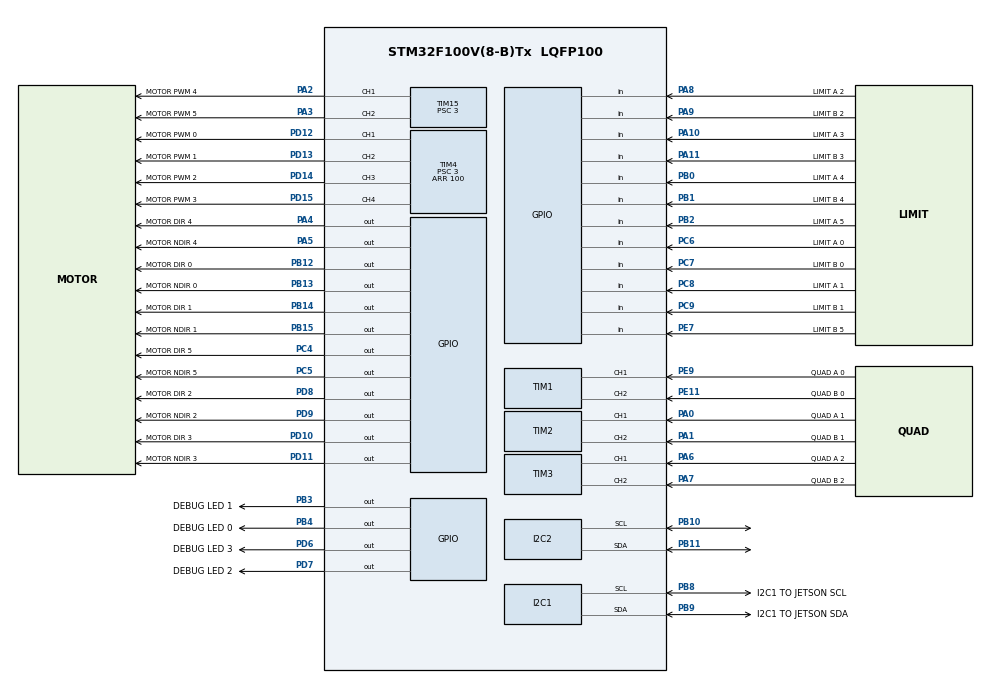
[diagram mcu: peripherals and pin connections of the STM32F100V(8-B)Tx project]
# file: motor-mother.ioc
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I2C1.DualAddressMode=I2C_DUALADDRESS_DISABLE
I2C1.I2C_Mode=I2C_Fast
I2C1.NoStretchMode=I2C_NOSTRETCH_DISABLE
I2C1.OwnAddress=I2C_ADDRESS
Mcu.Family=STM32F1
Mcu.Name=STM32F100V(8-B)Tx
Mcu.Package=LQFP100
Mcu.UserConstants=I2C_ADDRESS,0x02;COUNTER_LOOP_PERIOD,1000;QUADRATURE_FILTER,8
NVIC.I2C1_ER_IRQn=true\:0\:0\:false\:false\:true\:true\:true\:true
NVIC.I2C1_EV_IRQn=true\:0\:0\:true\:false\:true\:true\:true\:true
NVIC.I2C2_ER_IRQn=true\:0\:0\:false\:false\:true\:true\:true\:true
NVIC.I2C2_EV_IRQn=true\:0\:0\:false\:false\:true\:true\:true\:true
NVIC.PriorityGroup=NVIC_PRIORITYGROUP_4
NVIC.TIM1_UP_TIM16_IRQn=true\:1\:0\:true\:false\:true\:true\:true\:true
PA0-WKUP.GPIO_Label=QUAD A 1
PA0-WKUP.Signal=S_TIM2_CH1_ETR
PA1.GPIO_Label=QUAD B 1
PA1.Signal=S_TIM2_CH2
PA10.GPIO_Label=LIMIT A 3
PA10.GPIO_PuPd=GPIO_PULLUP
PA10.Signal=GPIO_Input
PA11.GPIO_Label=LIMIT B 3
PA11.GPIO_PuPd=GPIO_PULLUP
PA11.Signal=GPIO_Input
PA13.Mode=Serial_Wire
PA13.Signal=SYS_JTMS-SWDIO
PA14.Mode=Serial_Wire
PA14.Signal=SYS_JTCK-SWCLK
PA2.GPIO_Label=MOTOR PWM 4
PA2.Signal=S_TIM15_CH1
PA3.GPIO_Label=MOTOR PWM 5
PA3.Signal=S_TIM15_CH2
PA4.GPIO_Label=MOTOR DIR 4
PA4.Signal=GPIO_Output
PA5.GPIO_Label=MOTOR NDIR 4
PA5.Signal=GPIO_Output
PA6.GPIO_Label=QUAD A 2
PA6.Signal=S_TIM3_CH1
PA7.GPIO_Label=QUAD B 2
PA7.Signal=S_TIM3_CH2
PA8.GPIO_Label=LIMIT A 2
PA8.GPIO_PuPd=GPIO_PULLUP
PA8.Signal=GPIO_Input
PA9.GPIO_Label=LIMIT B 2
PA9.GPIO_PuPd=GPIO_PULLUP
PA9.Signal=GPIO_Input
PB0.GPIO_Label=LIMIT A 4
PB0.GPIO_PuPd=GPIO_PULLUP
PB0.Signal=GPIO_Input
PB1.GPIO_Label=LIMIT B 4
PB1.GPIO_PuPd=GPIO_PULLUP
PB1.Signal=GPIO_Input
PB10.Mode=I2C
PB10.Signal=I2C2_SCL
PB11.Mode=I2C
PB11.Signal=I2C2_SDA
PB12.GPIO_Label=MOTOR DIR 0
PB12.Signal=GPIO_Output
PB13.GPIO_Label=MOTOR NDIR 0
PB13.Signal=GPIO_Output
PB14.GPIO_Label=MOTOR DIR 1
PB14.Signal=GPIO_Output
PB15.GPIO_Label=MOTOR NDIR 1
PB15.Signal=GPIO_Output
PB2.GPIO_Label=LIMIT A 5
PB2.Signal=GPIO_Input
PB3.GPIO_Label=DEBUG LED 1
PB3.Signal=GPIO_Output
PB4.GPIO_Label=DEBUG LED 0
PB4.Signal=GPIO_Output
PB8.GPIO_Label=I2C1 TO JETSON SCL
PB8.Mode=I2C
PB8.Signal=I2C1_SCL
PB9.GPIO_Label=I2C1 TO JETSON SDA
PB9.Mode=I2C
PB9.Signal=I2C1_SDA
PC4.GPIO_Label=MOTOR DIR 5
PC4.Signal=GPIO_Output
PC5.GPIO_Label=MOTOR NDIR 5
PC5.Signal=GPIO_Output
PC6.GPIO_Label=LIMIT A 0
PC6.GPIO_PuPd=GPIO_PULLUP
PC6.Signal=GPIO_Input
PC7.GPIO_Label=LIMIT B 0
PC7.GPIO_PuPd=GPIO_PULLUP
PC7.Signal=GPIO_Input
PC8.GPIO_Label=LIMIT A 1
PC8.GPIO_PuPd=GPIO_PULLUP
PC8.Signal=GPIO_Input
PC9.GPIO_Label=LIMIT B 1
PC9.GPIO_PuPd=GPIO_PULLUP
PC9.Signal=GPIO_Input
PD10.GPIO_Label=MOTOR DIR 3
PD10.Signal=GPIO_Output
PD11.GPIO_Label=MOTOR NDIR 3
PD11.Signal=GPIO_Output
PD12.GPIO_Label=MOTOR PWM 0
PD12.Signal=S_TIM4_CH1
PD13.GPIO_Label=MOTOR PWM 1
PD13.Signal=S_TIM4_CH2
PD14.GPIO_Label=MOTOR PWM 2
PD14.Signal=S_TIM4_CH3
PD15.GPIO_Label=MOTOR PWM 3
PD15.Signal=S_TIM4_CH4
PD6.GPIO_Label=DEBUG LED 3
PD6.Signal=GPIO_Output
PD7.GPIO_Label=DEBUG LED 2
PD7.Signal=GPIO_Output
PD8.GPIO_Label=MOTOR DIR 2
PD8.Signal=GPIO_Output
PD9.GPIO_Label=MOTOR NDIR 2
PD9.Signal=GPIO_Output
PE11.GPIO_Label=QUAD B 0
PE11.Signal=S_TIM1_CH2
PE7.GPIO_Label=LIMIT B 5
PE7.GPIO_PuPd=GPIO_PULLUP
PE7.Signal=GPIO_Input
PE9.GPIO_Label=QUAD A 0
PE9.Signal=S_TIM1_CH1
ProjectManager.HeapSize=0x200
ProjectManager.StackSize=0x400
ProjectManager.TargetToolchain=STM32CubeIDE
RCC.APB1Freq_Value=8000000
RCC.APB2Freq_Value=8000000
SH.S_TIM15_CH1.0=TIM15_CH1,PWM Generation1 CH1
SH.S_TIM15_CH2.0=TIM15_CH2,PWM Generation2 CH2
SH.S_TIM1_CH1.0=TIM1_CH1,Encoder_Interface
SH.S_TIM1_CH2.0=TIM1_CH2,Encoder_Interface
SH.S_TIM2_CH1_ETR.0=TIM2_CH1,Encoder_Interface
SH.S_TIM2_CH2.0=TIM2_CH2,Encoder_Interface
SH.S_TIM3_CH1.0=TIM3_CH1,Encoder_Interface
SH.S_TIM3_CH2.0=TIM3_CH2,Encoder_Interface
SH.S_TIM4_CH1.0=TIM4_CH1,PWM Generation1 CH1
SH.S_TIM4_CH2.0=TIM4_CH2,PWM Generation2 CH2
SH.S_TIM4_CH3.0=TIM4_CH3,PWM Generation3 CH3
SH.S_TIM4_CH4.0=TIM4_CH4,PWM Generation4 CH4
TIM1.IC1Filter=QUADRATURE_FILTER
TIM1.IC2Filter=QUADRATURE_FILTER
TIM15.Channel-PWM\ Generation1\ CH1=TIM_CHANNEL_1
TIM15.Channel-PWM\ Generation2\ CH2=TIM_CHANNEL_2
TIM15.Period=100
TIM15.Prescaler=3
TIM16.Period=COUNTER_LOOP_PERIOD
TIM16.Prescaler=7
TIM2.IC1Filter=QUADRATURE_FILTER
TIM2.IC2Filter=QUADRATURE_FILTER
TIM3.IC1Filter=QUADRATURE_FILTER
TIM3.IC2Filter=QUADRATURE_FILTER
TIM4.Channel-PWM\ Generation1\ CH1=TIM_CHANNEL_1
TIM4.Channel-PWM\ Generation2\ CH2=TIM_CHANNEL_2
TIM4.Channel-PWM\ Generation3\ CH3=TIM_CHANNEL_3
TIM4.Channel-PWM\ Generation4\ CH4=TIM_CHANNEL_4
TIM4.Period=100
TIM4.Prescaler=3
VP_TIM16_VS_ClockSourceINT.Mode=Enable_Timer
board=custom

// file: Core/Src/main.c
/* USER CODE BEGIN Header */
/**
 ******************************************************************************
 * @file           : main.c
 * @brief          : Main program body
 ******************************************************************************
 * @attention
 *
 * Copyright (c) 2022 STMicroelectronics.
 * All rights reserved.
 *
 * This software is licensed under terms that can be found in the LICENSE file
 * in the root directory of this software component.
 * If no LICENSE file comes with this software, it is provided AS-IS.
 *
 ******************************************************************************
 */
/* USER CODE END Header */
#include "main.h"

/* USER CODE BEGIN Includes */
#include "motor.h"
#include "i2c_bridge.h"
/* USER CODE END Includes */

/* USER CODE BEGIN PD */

#define NUM_MOTORS 6

/* USER CODE END PD */

I2C_HandleTypeDef hi2c1;
I2C_HandleTypeDef hi2c2;

TIM_HandleTypeDef htim1;
TIM_HandleTypeDef htim2;
TIM_HandleTypeDef htim3;
TIM_HandleTypeDef htim4;
TIM_HandleTypeDef htim15;
TIM_HandleTypeDef htim16;

/* USER CODE BEGIN PV */

Pin *hbridge_forward_pins[NUM_MOTORS] = { NULL };
Pin *hbridge_backward_pins[NUM_MOTORS] = { NULL };
HBridge *hbridges[NUM_MOTORS] = { NULL };

Pin *forward_limit_switch_pins[NUM_MOTORS] = { NULL };
Pin *backward_limit_switch_pins[NUM_MOTORS] = { NULL };

LimitSwitch *forward_limit_switches[NUM_MOTORS] = { NULL };
LimitSwitch *backward_limit_switches[NUM_MOTORS] = { NULL };

QuadEncoder *quad_encoders[NUM_MOTORS] = { NULL };

AbsEncoder *abs_encoders[NUM_MOTORS] = { NULL };

ClosedLoopControl *controls[NUM_MOTORS] = { NULL };

Motor *motors[NUM_MOTORS] = { NULL };
I2CBus *i2c_bus = NULL;

I2CBus *absolute_enc_i2c_bus = NULL;

/* USER CODE END PV */

void SystemClock_Config(void);
static void MX_GPIO_Init(void);
static void MX_I2C1_Init(void);
static void MX_TIM1_Init(void);
static void MX_TIM2_Init(void);
static void MX_TIM3_Init(void);
static void MX_TIM4_Init(void);
static void MX_TIM15_Init(void);
static void MX_TIM16_Init(void);
static void MX_I2C2_Init(void);

/* USER CODE BEGIN 0 */

void HAL_TIM_PeriodElapsedCallback(TIM_HandleTypeDef *htim) {
	if (htim == &htim16) {

		CH_tick(i2c_bus, motors, NUM_MOTORS);

		for (size_t i = 0; i < NUM_MOTORS; ++i) {
			if (quad_encoders[i]->valid) {
				update_quad_encoder(quad_encoders[i]);
			}
			if (forward_limit_switches[i]->valid) {
				update_limit_switch(forward_limit_switches[i]);
			}
			if (backward_limit_switches[i]->valid) {
				update_limit_switch(backward_limit_switches[i]);
			}
			if (motors[i]->valid) {
				update_motor_target(motors[i]);
				update_motor_speed(motors[i]);
				update_motor_limit_switches(motors[i]);
			}
		}
	}
}

void HAL_I2C_AddrCallback(I2C_HandleTypeDef *hi2c, uint8_t TransferDirection, uint16_t AddrMatchCode) {
	if (TransferDirection == I2C_DIRECTION_TRANSMIT) {
		HAL_I2C_Slave_Seq_Receive_IT(i2c_bus->i2c_bus_handle, i2c_bus->buffer, 1, I2C_LAST_FRAME);
		i2c_bus->operation = UNKNOWN;
	} else {
		if (i2c_bus->motor_id < NUM_MOTORS) {
			CH_prepare_send(i2c_bus, motors[i2c_bus->motor_id]);
		}
		uint8_t bytes_to_send = CH_num_send(i2c_bus);
		if (bytes_to_send != 0) {
			HAL_I2C_Slave_Seq_Transmit_IT(i2c_bus->i2c_bus_handle, i2c_bus->buffer, bytes_to_send, I2C_LAST_FRAME);
		}
	}

	i2c_bus->tick = 0;
}

void HAL_I2C_SlaveRxCpltCallback(I2C_HandleTypeDef *hi2c) {
	if (i2c_bus->operation == UNKNOWN) {
		i2c_bus->motor_id = (i2c_bus->buffer[0] >> 5) & 0x07;
		i2c_bus->operation = i2c_bus->buffer[0] & 0x1F;
		uint8_t bytes_to_recieve = CH_num_receive(i2c_bus);
		if (bytes_to_recieve != 0) {
			HAL_I2C_Slave_Seq_Receive_IT(i2c_bus->i2c_bus_handle, i2c_bus->buffer, bytes_to_recieve, I2C_LAST_FRAME);
		} else {
			if (i2c_bus->motor_id < NUM_MOTORS) {
				CH_process_received(i2c_bus, motors[i2c_bus->motor_id]);
			}
		}
	} else {
		if (i2c_bus->motor_id < NUM_MOTORS) {
			CH_process_received(i2c_bus, motors[i2c_bus->motor_id]);
		}
	}
}

void HAL_I2C_ErrorCallback(I2C_HandleTypeDef *hi2c) {
	CH_reset(i2c_bus, motors, NUM_MOTORS);
}

void HAL_I2C_ListenCpltCallback(I2C_HandleTypeDef *hi2c) {
	HAL_I2C_EnableListen_IT(i2c_bus->i2c_bus_handle);
}

/* USER CODE END 0 */

int main(void)
{

  /* MCU Configuration--------------------------------------------------------*/

  /* Reset of all peripherals, Initializes the Flash interface and the Systick. */
  HAL_Init();

  /* USER CODE BEGIN Init */

	hbridge_forward_pins[0] = new_pin(MOTOR_DIR_0_GPIO_Port, MOTOR_DIR_0_Pin);
	hbridge_forward_pins[1] = new_pin(MOTOR_DIR_1_GPIO_Port, MOTOR_DIR_1_Pin);
	hbridge_forward_pins[2] = new_pin(MOTOR_DIR_2_GPIO_Port, MOTOR_DIR_2_Pin);
	hbridge_forward_pins[3] = new_pin(MOTOR_DIR_3_GPIO_Port, MOTOR_DIR_3_Pin);
	hbridge_forward_pins[4] = new_pin(MOTOR_DIR_4_GPIO_Port, MOTOR_DIR_4_Pin);
	hbridge_forward_pins[5] = new_pin(MOTOR_DIR_5_GPIO_Port, MOTOR_DIR_5_Pin);

	hbridge_backward_pins[0] = new_pin(MOTOR_NDIR_0_GPIO_Port, MOTOR_NDIR_0_Pin);
	hbridge_backward_pins[1] = new_pin(MOTOR_NDIR_1_GPIO_Port, MOTOR_NDIR_1_Pin);
	hbridge_backward_pins[2] = new_pin(MOTOR_NDIR_2_GPIO_Port, MOTOR_NDIR_2_Pin);
	hbridge_backward_pins[3] = new_pin(MOTOR_NDIR_3_GPIO_Port, MOTOR_NDIR_3_Pin);
	hbridge_backward_pins[4] = new_pin(MOTOR_NDIR_4_GPIO_Port, MOTOR_NDIR_4_Pin);
	hbridge_backward_pins[5] = new_pin(MOTOR_NDIR_5_GPIO_Port, MOTOR_NDIR_5_Pin);

	hbridges[0] = new_hbridge(1, &htim4, TIM_CHANNEL_1, &(TIM4->CCR1), &(TIM4->ARR), hbridge_forward_pins[0], hbridge_backward_pins[0]);
	hbridges[1] = new_hbridge(1, &htim4, TIM_CHANNEL_2, &(TIM4->CCR2), &(TIM4->ARR), hbridge_forward_pins[1], hbridge_backward_pins[1]);
	hbridges[2] = new_hbridge(1, &htim4, TIM_CHANNEL_3, &(TIM4->CCR3), &(TIM4->ARR), hbridge_forward_pins[2], hbridge_backward_pins[2]);
	hbridges[3] = new_hbridge(1, &htim4, TIM_CHANNEL_4, &(TIM4->CCR4), &(TIM4->ARR), hbridge_forward_pins[3], hbridge_backward_pins[3]);
	hbridges[4] = new_hbridge(1, &htim15, TIM_CHANNEL_1, &(TIM15->CCR1), &(TIM15->ARR), hbridge_forward_pins[4], hbridge_backward_pins[4]);
	hbridges[5] = new_hbridge(1, &htim15, TIM_CHANNEL_2, &(TIM15->CCR2), &(TIM15->ARR), hbridge_forward_pins[5], hbridge_backward_pins[5]);

	for (size_t i = 0; i < NUM_MOTORS; ++i) {
		if (hbridges[i]->valid) {
			init_hbridge(hbridges[i], 0.0f, true);
		}
	}

	forward_limit_switch_pins[0] = new_pin(LIMIT_A_0_GPIO_Port, LIMIT_A_0_Pin);
	forward_limit_switch_pins[1] = new_pin(LIMIT_A_1_GPIO_Port, LIMIT_A_1_Pin);
	forward_limit_switch_pins[2] = new_pin(LIMIT_A_2_GPIO_Port, LIMIT_A_2_Pin);
	forward_limit_switch_pins[3] = new_pin(LIMIT_A_3_GPIO_Port, LIMIT_A_3_Pin);
	forward_limit_switch_pins[4] = new_pin(LIMIT_A_4_GPIO_Port, LIMIT_A_4_Pin);
	forward_limit_switch_pins[5] = new_pin(LIMIT_A_5_GPIO_Port, LIMIT_A_5_Pin);

	backward_limit_switch_pins[0] = new_pin(LIMIT_B_0_GPIO_Port, LIMIT_B_0_Pin);
	backward_limit_switch_pins[1] = new_pin(LIMIT_B_1_GPIO_Port, LIMIT_B_1_Pin);
	backward_limit_switch_pins[2] = new_pin(LIMIT_B_2_GPIO_Port, LIMIT_B_2_Pin);
	backward_limit_switch_pins[3] = new_pin(LIMIT_B_3_GPIO_Port, LIMIT_B_3_Pin);
	backward_limit_switch_pins[4] = new_pin(LIMIT_B_4_GPIO_Port, LIMIT_B_4_Pin);
	backward_limit_switch_pins[5] = new_pin(LIMIT_B_5_GPIO_Port, LIMIT_B_5_Pin);

	for (size_t i = 0; i < NUM_MOTORS; ++i) {
		forward_limit_switches[i] = new_limit_switch(
				forward_limit_switch_pins[i] != NULL,
				forward_limit_switch_pins[i]);
		backward_limit_switches[i] = new_limit_switch(
				backward_limit_switch_pins[i] != NULL,
				backward_limit_switch_pins[i]);
	}

	quad_encoders[0] = new_quad_encoder(1, &htim1, TIM1);
	quad_encoders[1] = new_quad_encoder(1, &htim2, TIM2);
	quad_encoders[2] = new_quad_encoder(1, &htim3, TIM3);

	// THE OTHER QUAD ENCODERS DO NOT EXIST. Only first value matters.
	quad_encoders[3] = new_quad_encoder(0, &htim1, TIM1);
	quad_encoders[4] = new_quad_encoder(0, &htim1, TIM1);
	quad_encoders[5] = new_quad_encoder(0, &htim1, TIM1);

	abs_encoders[0] = abs_encoder_init(1, &hi2c2, FALSE, FALSE);
	abs_encoders[1] = abs_encoder_init(1, &hi2c2, TRUE, TRUE);

	// THE OTHER ABS ENCODERS DO NOT EXIST. Only first value matters.
	abs_encoders[2] = abs_encoder_init(0, &hi2c2, FALSE, FALSE);
	abs_encoders[3] = abs_encoder_init(0, &hi2c2, FALSE, FALSE);
	abs_encoders[4] = abs_encoder_init(0, &hi2c2, FALSE, FALSE);
	abs_encoders[5] = abs_encoder_init(0, &hi2c2, FALSE, FALSE);

	for (size_t i = 0; i < NUM_MOTORS; ++i) {
		if (quad_encoders[i]->valid) {
			init_quad_encoder(quad_encoders[i]);
		}
	}

	for (size_t i = 0; i < NUM_MOTORS; ++i) {
		controls[i] = new_closed_loop_control(0.01f, 0.0f, 0.0f, 0.0f);
	}

	for (size_t i = 0; i < NUM_MOTORS; ++i) {
		motors[i] = new_motor(1, hbridges[i], forward_limit_switches[i], backward_limit_switches[i], quad_encoders[i], abs_encoders[i], controls[i]);
		init_motor(motors[i], 0.0f);
	}

  /* USER CODE END Init */

  /* Configure the system clock */
  SystemClock_Config();

  /* Initialize all configured peripherals */
  MX_GPIO_Init();
  MX_I2C1_Init();
  MX_TIM1_Init();
  MX_TIM2_Init();
  MX_TIM3_Init();
  MX_TIM4_Init();
  MX_TIM15_Init();
  MX_TIM16_Init();
  MX_I2C2_Init();
  /* USER CODE BEGIN 2 */
	HAL_I2C_MspInit(&hi2c1);

	i2c_bus = new_i2c_bus(&hi2c1); // NOTE: hi2c1 orig
	absolute_enc_i2c_bus = new_i2c_bus(&hi2c1);

	// TODO - Make this better so you wouldn't have to update on both sides (make a variable/class)

	// Start up the H-Bridge PWMs
	for (size_t i = 0; i < NUM_MOTORS; ++i) {
		if (hbridges[i]->valid) {
			HAL_TIM_PWM_Start(hbridges[i]->timer, hbridges[i]->channel);
		}
	}

	// Start up the quadrature encoders
	for (size_t i = 0; i < NUM_MOTORS; ++i) {
		if (quad_encoders[i]->valid) {
			HAL_TIM_Encoder_Start(quad_encoders[i]->htim, TIM_CHANNEL_ALL);
		}
	}

	// Start the logic loop timer
	HAL_TIM_Base_Start_IT(&htim16);

	// Start the I2C interrupts
	HAL_I2C_EnableListen_IT(i2c_bus->i2c_bus_handle);
//    HAL_I2C_EnableListen_IT(&hi2c1); // NOTE: hi2c1 orig

  /* USER CODE END 2 */

  /* Infinite loop */
  /* USER CODE BEGIN WHILE */
	if (I2C_ADDRESS == 0x10)
	{
		while (1) {
			refresh_motor_absolute_encoder_value(motors[0]);
		}
	}

	while (1) {
    /* USER CODE END WHILE */

	}
}

void SystemClock_Config(void)
{
  RCC_OscInitTypeDef RCC_OscInitStruct = {0};
  RCC_ClkInitTypeDef RCC_ClkInitStruct = {0};

  /** Initializes the RCC Oscillators according to the specified parameters
  * in the RCC_OscInitTypeDef structure.
  */
  RCC_OscInitStruct.OscillatorType = RCC_OSCILLATORTYPE_HSI;
  RCC_OscInitStruct.HSIState = RCC_HSI_ON;
  RCC_OscInitStruct.HSICalibrationValue = RCC_HSICALIBRATION_DEFAULT;
  RCC_OscInitStruct.PLL.PLLState = RCC_PLL_NONE;
  if (HAL_RCC_OscConfig(&RCC_OscInitStruct) != HAL_OK)
  {
    Error_Handler();
  }

  /** Initializes the CPU, AHB and APB buses clocks
  */
  RCC_ClkInitStruct.ClockType = RCC_CLOCKTYPE_HCLK|RCC_CLOCKTYPE_SYSCLK
                              |RCC_CLOCKTYPE_PCLK1|RCC_CLOCKTYPE_PCLK2;
  RCC_ClkInitStruct.SYSCLKSource = RCC_SYSCLKSOURCE_HSI;
  RCC_ClkInitStruct.AHBCLKDivider = RCC_SYSCLK_DIV1;
  RCC_ClkInitStruct.APB1CLKDivider = RCC_HCLK_DIV1;
  RCC_ClkInitStruct.APB2CLKDivider = RCC_HCLK_DIV1;

  if (HAL_RCC_ClockConfig(&RCC_ClkInitStruct, FLASH_LATENCY_0) != HAL_OK)
  {
    Error_Handler();
  }
}

static void MX_I2C1_Init(void)
{

  hi2c1.Instance = I2C1;
  hi2c1.Init.ClockSpeed = 400000;
  hi2c1.Init.DutyCycle = I2C_DUTYCYCLE_2;
  hi2c1.Init.OwnAddress1 = 4;
  hi2c1.Init.AddressingMode = I2C_ADDRESSINGMODE_7BIT;
  hi2c1.Init.DualAddressMode = I2C_DUALADDRESS_DISABLE;
  hi2c1.Init.OwnAddress2 = 0;
  hi2c1.Init.GeneralCallMode = I2C_GENERALCALL_DISABLE;
  hi2c1.Init.NoStretchMode = I2C_NOSTRETCH_DISABLE;
  if (HAL_I2C_Init(&hi2c1) != HAL_OK)
  {
    Error_Handler();
  }

}

static void MX_I2C2_Init(void)
{

  hi2c2.Instance = I2C2;
  hi2c2.Init.ClockSpeed = 100000;
  hi2c2.Init.DutyCycle = I2C_DUTYCYCLE_2;
  hi2c2.Init.OwnAddress1 = 0;
  hi2c2.Init.AddressingMode = I2C_ADDRESSINGMODE_7BIT;
  hi2c2.Init.DualAddressMode = I2C_DUALADDRESS_DISABLE;
  hi2c2.Init.OwnAddress2 = 0;
  hi2c2.Init.GeneralCallMode = I2C_GENERALCALL_DISABLE;
  hi2c2.Init.NoStretchMode = I2C_NOSTRETCH_DISABLE;
  if (HAL_I2C_Init(&hi2c2) != HAL_OK)
  {
    Error_Handler();
  }

}

static void MX_TIM1_Init(void)
{

  TIM_Encoder_InitTypeDef sConfig = {0};
  TIM_MasterConfigTypeDef sMasterConfig = {0};

  htim1.Instance = TIM1;
  htim1.Init.Prescaler = 0;
  htim1.Init.CounterMode = TIM_COUNTERMODE_UP;
  htim1.Init.Period = 65535;
  htim1.Init.ClockDivision = TIM_CLOCKDIVISION_DIV1;
  htim1.Init.RepetitionCounter = 0;
  htim1.Init.AutoReloadPreload = TIM_AUTORELOAD_PRELOAD_DISABLE;
  sConfig.EncoderMode = TIM_ENCODERMODE_TI1;
  sConfig.IC1Polarity = TIM_ICPOLARITY_RISING;
  sConfig.IC1Selection = TIM_ICSELECTION_DIRECTTI;
  sConfig.IC1Prescaler = TIM_ICPSC_DIV1;
  sConfig.IC1Filter = QUADRATURE_FILTER;
  sConfig.IC2Polarity = TIM_ICPOLARITY_RISING;
  sConfig.IC2Selection = TIM_ICSELECTION_DIRECTTI;
  sConfig.IC2Prescaler = TIM_ICPSC_DIV1;
  sConfig.IC2Filter = QUADRATURE_FILTER;
  if (HAL_TIM_Encoder_Init(&htim1, &sConfig) != HAL_OK)
  {
    Error_Handler();
  }
  sMasterConfig.MasterOutputTrigger = TIM_TRGO_RESET;
  sMasterConfig.MasterSlaveMode = TIM_MASTERSLAVEMODE_DISABLE;
  if (HAL_TIMEx_MasterConfigSynchronization(&htim1, &sMasterConfig) != HAL_OK)
  {
    Error_Handler();
  }

}

static void MX_TIM2_Init(void)
{

  TIM_Encoder_InitTypeDef sConfig = {0};
  TIM_MasterConfigTypeDef sMasterConfig = {0};

  htim2.Instance = TIM2;
  htim2.Init.Prescaler = 0;
  htim2.Init.CounterMode = TIM_COUNTERMODE_UP;
  htim2.Init.Period = 65535;
  htim2.Init.ClockDivision = TIM_CLOCKDIVISION_DIV1;
  htim2.Init.AutoReloadPreload = TIM_AUTORELOAD_PRELOAD_DISABLE;
  sConfig.EncoderMode = TIM_ENCODERMODE_TI1;
  sConfig.IC1Polarity = TIM_ICPOLARITY_RISING;
  sConfig.IC1Selection = TIM_ICSELECTION_DIRECTTI;
  sConfig.IC1Prescaler = TIM_ICPSC_DIV1;
  sConfig.IC1Filter = QUADRATURE_FILTER;
  sConfig.IC2Polarity = TIM_ICPOLARITY_RISING;
  sConfig.IC2Selection = TIM_ICSELECTION_DIRECTTI;
  sConfig.IC2Prescaler = TIM_ICPSC_DIV1;
  sConfig.IC2Filter = QUADRATURE_FILTER;
  if (HAL_TIM_Encoder_Init(&htim2, &sConfig) != HAL_OK)
  {
    Error_Handler();
  }
  sMasterConfig.MasterOutputTrigger = TIM_TRGO_RESET;
  sMasterConfig.MasterSlaveMode = TIM_MASTERSLAVEMODE_DISABLE;
  if (HAL_TIMEx_MasterConfigSynchronization(&htim2, &sMasterConfig) != HAL_OK)
  {
    Error_Handler();
  }

}

static void MX_TIM3_Init(void)
{

  TIM_Encoder_InitTypeDef sConfig = {0};
  TIM_MasterConfigTypeDef sMasterConfig = {0};

  htim3.Instance = TIM3;
  htim3.Init.Prescaler = 0;
  htim3.Init.CounterMode = TIM_COUNTERMODE_UP;
  htim3.Init.Period = 65535;
  htim3.Init.ClockDivision = TIM_CLOCKDIVISION_DIV1;
  htim3.Init.AutoReloadPreload = TIM_AUTORELOAD_PRELOAD_DISABLE;
  sConfig.EncoderMode = TIM_ENCODERMODE_TI1;
  sConfig.IC1Polarity = TIM_ICPOLARITY_RISING;
  sConfig.IC1Selection = TIM_ICSELECTION_DIRECTTI;
  sConfig.IC1Prescaler = TIM_ICPSC_DIV1;
  sConfig.IC1Filter = QUADRATURE_FILTER;
  sConfig.IC2Polarity = TIM_ICPOLARITY_RISING;
  sConfig.IC2Selection = TIM_ICSELECTION_DIRECTTI;
  sConfig.IC2Prescaler = TIM_ICPSC_DIV1;
  sConfig.IC2Filter = QUADRATURE_FILTER;
  if (HAL_TIM_Encoder_Init(&htim3, &sConfig) != HAL_OK)
  {
    Error_Handler();
  }
  sMasterConfig.MasterOutputTrigger = TIM_TRGO_RESET;
  sMasterConfig.MasterSlaveMode = TIM_MASTERSLAVEMODE_DISABLE;
  if (HAL_TIMEx_MasterConfigSynchronization(&htim3, &sMasterConfig) != HAL_OK)
  {
    Error_Handler();
  }

}

static void MX_TIM4_Init(void)
{

  TIM_MasterConfigTypeDef sMasterConfig = {0};
  TIM_OC_InitTypeDef sConfigOC = {0};

  htim4.Instance = TIM4;
  htim4.Init.Prescaler = 3;
  htim4.Init.CounterMode = TIM_COUNTERMODE_UP;
  htim4.Init.Period = 100;
  htim4.Init.ClockDivision = TIM_CLOCKDIVISION_DIV1;
  htim4.Init.AutoReloadPreload = TIM_AUTORELOAD_PRELOAD_DISABLE;
  if (HAL_TIM_PWM_Init(&htim4) != HAL_OK)
  {
    Error_Handler();
  }
  sMasterConfig.MasterOutputTrigger = TIM_TRGO_RESET;
  sMasterConfig.MasterSlaveMode = TIM_MASTERSLAVEMODE_DISABLE;
  if (HAL_TIMEx_MasterConfigSynchronization(&htim4, &sMasterConfig) != HAL_OK)
  {
    Error_Handler();
  }
  sConfigOC.OCMode = TIM_OCMODE_PWM1;
  sConfigOC.Pulse = 0;
  sConfigOC.OCPolarity = TIM_OCPOLARITY_HIGH;
  sConfigOC.OCFastMode = TIM_OCFAST_DISABLE;
  if (HAL_TIM_PWM_ConfigChannel(&htim4, &sConfigOC, TIM_CHANNEL_1) != HAL_OK)
  {
    Error_Handler();
  }
  if (HAL_TIM_PWM_ConfigChannel(&htim4, &sConfigOC, TIM_CHANNEL_2) != HAL_OK)
  {
    Error_Handler();
  }
  if (HAL_TIM_PWM_ConfigChannel(&htim4, &sConfigOC, TIM_CHANNEL_3) != HAL_OK)
  {
    Error_Handler();
  }
  if (HAL_TIM_PWM_ConfigChannel(&htim4, &sConfigOC, TIM_CHANNEL_4) != HAL_OK)
  {
    Error_Handler();
  }
  HAL_TIM_MspPostInit(&htim4);

}

static void MX_TIM15_Init(void)
{

  TIM_MasterConfigTypeDef sMasterConfig = {0};
  TIM_OC_InitTypeDef sConfigOC = {0};
  TIM_BreakDeadTimeConfigTypeDef sBreakDeadTimeConfig = {0};

  htim15.Instance = TIM15;
  htim15.Init.Prescaler = 3;
  htim15.Init.CounterMode = TIM_COUNTERMODE_UP;
  htim15.Init.Period = 100;
  htim15.Init.ClockDivision = TIM_CLOCKDIVISION_DIV1;
  htim15.Init.RepetitionCounter = 0;
  htim15.Init.AutoReloadPreload = TIM_AUTORELOAD_PRELOAD_DISABLE;
  if (HAL_TIM_PWM_Init(&htim15) != HAL_OK)
  {
    Error_Handler();
  }
  sMasterConfig.MasterOutputTrigger = TIM_TRGO_RESET;
  sMasterConfig.MasterSlaveMode = TIM_MASTERSLAVEMODE_DISABLE;
  if (HAL_TIMEx_MasterConfigSynchronization(&htim15, &sMasterConfig) != HAL_OK)
  {
    Error_Handler();
  }
  sConfigOC.OCMode = TIM_OCMODE_PWM1;
  sConfigOC.Pulse = 0;
  sConfigOC.OCPolarity = TIM_OCPOLARITY_HIGH;
  sConfigOC.OCNPolarity = TIM_OCNPOLARITY_HIGH;
  sConfigOC.OCFastMode = TIM_OCFAST_DISABLE;
  sConfigOC.OCIdleState = TIM_OCIDLESTATE_RESET;
  sConfigOC.OCNIdleState = TIM_OCNIDLESTATE_RESET;
  if (HAL_TIM_PWM_ConfigChannel(&htim15, &sConfigOC, TIM_CHANNEL_1) != HAL_OK)
  {
    Error_Handler();
  }
  if (HAL_TIM_PWM_ConfigChannel(&htim15, &sConfigOC, TIM_CHANNEL_2) != HAL_OK)
  {
    Error_Handler();
  }
  sBreakDeadTimeConfig.OffStateRunMode = TIM_OSSR_DISABLE;
  sBreakDeadTimeConfig.OffStateIDLEMode = TIM_OSSI_DISABLE;
  sBreakDeadTimeConfig.LockLevel = TIM_LOCKLEVEL_OFF;
  sBreakDeadTimeConfig.DeadTime = 0;
  sBreakDeadTimeConfig.BreakState = TIM_BREAK_DISABLE;
  sBreakDeadTimeConfig.BreakPolarity = TIM_BREAKPOLARITY_HIGH;
  sBreakDeadTimeConfig.AutomaticOutput = TIM_AUTOMATICOUTPUT_DISABLE;
  if (HAL_TIMEx_ConfigBreakDeadTime(&htim15, &sBreakDeadTimeConfig) != HAL_OK)
  {
    Error_Handler();
  }
  HAL_TIM_MspPostInit(&htim15);

}

static void MX_TIM16_Init(void)
{

  htim16.Instance = TIM16;
  htim16.Init.Prescaler = 7;
  htim16.Init.CounterMode = TIM_COUNTERMODE_UP;
  htim16.Init.Period = COUNTER_LOOP_PERIOD;
  htim16.Init.ClockDivision = TIM_CLOCKDIVISION_DIV1;
  htim16.Init.RepetitionCounter = 0;
  htim16.Init.AutoReloadPreload = TIM_AUTORELOAD_PRELOAD_DISABLE;
  if (HAL_TIM_Base_Init(&htim16) != HAL_OK)
  {
    Error_Handler();
  }

}

static void MX_GPIO_Init(void)
{
  GPIO_InitTypeDef GPIO_InitStruct = {0};

  /* GPIO Ports Clock Enable */
  __HAL_RCC_GPIOA_CLK_ENABLE();
  __HAL_RCC_GPIOC_CLK_ENABLE();
  __HAL_RCC_GPIOB_CLK_ENABLE();
  __HAL_RCC_GPIOE_CLK_ENABLE();
  __HAL_RCC_GPIOD_CLK_ENABLE();

  /*Configure GPIO pin Output Level */
  HAL_GPIO_WritePin(GPIOA, MOTOR_DIR_4_Pin|MOTOR_NDIR_4_Pin, GPIO_PIN_RESET);

  /*Configure GPIO pin Output Level */
  HAL_GPIO_WritePin(GPIOC, MOTOR_DIR_5_Pin|MOTOR_NDIR_5_Pin, GPIO_PIN_RESET);

  /*Configure GPIO pin Output Level */
  HAL_GPIO_WritePin(GPIOB, MOTOR_DIR_0_Pin|MOTOR_NDIR_0_Pin|MOTOR_DIR_1_Pin|MOTOR_NDIR_1_Pin
                          |DEBUG_LED_1_Pin|DEBUG_LED_0_Pin, GPIO_PIN_RESET);

  /*Configure GPIO pin Output Level */
  HAL_GPIO_WritePin(GPIOD, MOTOR_DIR_2_Pin|MOTOR_NDIR_2_Pin|MOTOR_DIR_3_Pin|MOTOR_NDIR_3_Pin
                          |DEBUG_LED_3_Pin|DEBUG_LED_2_Pin, GPIO_PIN_RESET);

  /*Configure GPIO pins : MOTOR_DIR_4_Pin MOTOR_NDIR_4_Pin */
  GPIO_InitStruct.Pin = MOTOR_DIR_4_Pin|MOTOR_NDIR_4_Pin;
  GPIO_InitStruct.Mode = GPIO_MODE_OUTPUT_PP;
  GPIO_InitStruct.Pull = GPIO_NOPULL;
  GPIO_InitStruct.Speed = GPIO_SPEED_FREQ_LOW;
  HAL_GPIO_Init(GPIOA, &GPIO_InitStruct);

  /*Configure GPIO pins : MOTOR_DIR_5_Pin MOTOR_NDIR_5_Pin */
  GPIO_InitStruct.Pin = MOTOR_DIR_5_Pin|MOTOR_NDIR_5_Pin;
  GPIO_InitStruct.Mode = GPIO_MODE_OUTPUT_PP;
  GPIO_InitStruct.Pull = GPIO_NOPULL;
  GPIO_InitStruct.Speed = GPIO_SPEED_FREQ_LOW;
  HAL_GPIO_Init(GPIOC, &GPIO_InitStruct);

  /*Configure GPIO pins : LIMIT_A_4_Pin LIMIT_B_4_Pin */
  GPIO_InitStruct.Pin = LIMIT_A_4_Pin|LIMIT_B_4_Pin;
  GPIO_InitStruct.Mode = GPIO_MODE_INPUT;
  GPIO_InitStruct.Pull = GPIO_PULLUP;
  HAL_GPIO_Init(GPIOB, &GPIO_InitStruct);

  /*Configure GPIO pin : LIMIT_A_5_Pin */
  GPIO_InitStruct.Pin = LIMIT_A_5_Pin;
  GPIO_InitStruct.Mode = GPIO_MODE_INPUT;
  GPIO_InitStruct.Pull = GPIO_NOPULL;
  HAL_GPIO_Init(LIMIT_A_5_GPIO_Port, &GPIO_InitStruct);

  /*Configure GPIO pin : LIMIT_B_5_Pin */
  GPIO_InitStruct.Pin = LIMIT_B_5_Pin;
  GPIO_InitStruct.Mode = GPIO_MODE_INPUT;
  GPIO_InitStruct.Pull = GPIO_PULLUP;
  HAL_GPIO_Init(LIMIT_B_5_GPIO_Port, &GPIO_InitStruct);

  /*Configure GPIO pins : MOTOR_DIR_0_Pin MOTOR_NDIR_0_Pin MOTOR_DIR_1_Pin MOTOR_NDIR_1_Pin
                           DEBUG_LED_1_Pin DEBUG_LED_0_Pin */
  GPIO_InitStruct.Pin = MOTOR_DIR_0_Pin|MOTOR_NDIR_0_Pin|MOTOR_DIR_1_Pin|MOTOR_NDIR_1_Pin
                          |DEBUG_LED_1_Pin|DEBUG_LED_0_Pin;
  GPIO_InitStruct.Mode = GPIO_MODE_OUTPUT_PP;
  GPIO_InitStruct.Pull = GPIO_NOPULL;
  GPIO_InitStruct.Speed = GPIO_SPEED_FREQ_LOW;
  HAL_GPIO_Init(GPIOB, &GPIO_InitStruct);

  /*Configure GPIO pins : MOTOR_DIR_2_Pin MOTOR_NDIR_2_Pin MOTOR_DIR_3_Pin MOTOR_NDIR_3_Pin
                           DEBUG_LED_3_Pin DEBUG_LED_2_Pin */
  GPIO_InitStruct.Pin = MOTOR_DIR_2_Pin|MOTOR_NDIR_2_Pin|MOTOR_DIR_3_Pin|MOTOR_NDIR_3_Pin
                          |DEBUG_LED_3_Pin|DEBUG_LED_2_Pin;
  GPIO_InitStruct.Mode = GPIO_MODE_OUTPUT_PP;
  GPIO_InitStruct.Pull = GPIO_NOPULL;
  GPIO_InitStruct.Speed = GPIO_SPEED_FREQ_LOW;
  HAL_GPIO_Init(GPIOD, &GPIO_InitStruct);

  /*Configure GPIO pins : LIMIT_A_0_Pin LIMIT_B_0_Pin LIMIT_A_1_Pin LIMIT_B_1_Pin */
  GPIO_InitStruct.Pin = LIMIT_A_0_Pin|LIMIT_B_0_Pin|LIMIT_A_1_Pin|LIMIT_B_1_Pin;
  GPIO_InitStruct.Mode = GPIO_MODE_INPUT;
  GPIO_InitStruct.Pull = GPIO_PULLUP;
  HAL_GPIO_Init(GPIOC, &GPIO_InitStruct);

  /*Configure GPIO pins : LIMIT_A_2_Pin LIMIT_B_2_Pin LIMIT_A_3_Pin LIMIT_B_3_Pin */
  GPIO_InitStruct.Pin = LIMIT_A_2_Pin|LIMIT_B_2_Pin|LIMIT_A_3_Pin|LIMIT_B_3_Pin;
  GPIO_InitStruct.Mode = GPIO_MODE_INPUT;
  GPIO_InitStruct.Pull = GPIO_PULLUP;
  HAL_GPIO_Init(GPIOA, &GPIO_InitStruct);

}

void Error_Handler(void)
{
	__disable_irq();
	while (1) {
	}
}
